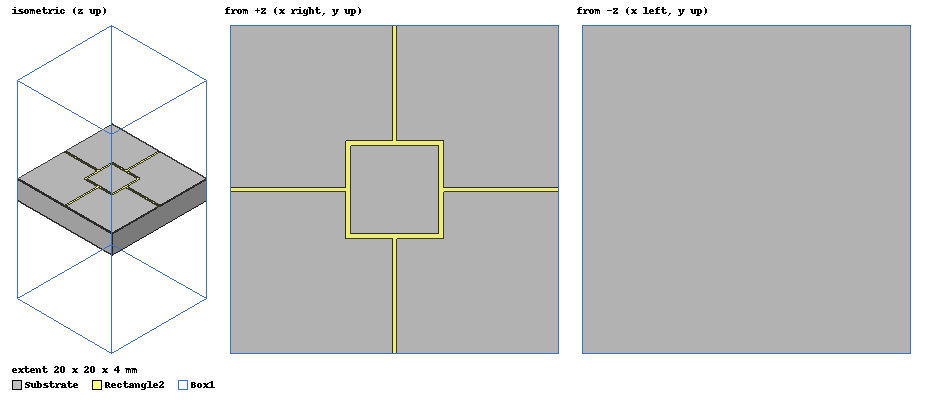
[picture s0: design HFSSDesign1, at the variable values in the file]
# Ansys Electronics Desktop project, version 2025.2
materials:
  vacuum: permittivity=1
  FR4_epoxy: permittivity=4.4 dielectric_loss_tangent=0.02

design HFSSDesign1 (HFSS, HFSS Terminal Network, model units mm)
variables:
  p = 20mm
  t = 4mm
  l = 5.4mm
  w = 0.3mm
  H = 40mm
  Phi_scan = 0deg
  Theta_scan = 0deg
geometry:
  Substrate [FR4_epoxy] = box(corner=(-p/2, -p/2, t/2), size=(p, p, -t))
  Rectangle1 = rectangle(corner=(-l/2, -l/2, t/2), x_size=l, y_size=l)
  Rectangle2 = rectangle(corner=(-(2*w+l)/2, -(2*w+l)/2, t/2), x_size=2*w+l, y_size=2*w+l)
  Rectangle2.subtract(Rectangle1)
  Rectangle3 = rectangle(corner=(-w/2, (p/2), t/2), x_size=w, y_size=-(p/2-l/2-w/2))
  Rectangle3_1 = Rectangle3.duplicate_around_axis(axis=Z, angle=90deg, total=2)
  Rectangle3_2 = Rectangle3.duplicate_around_axis(axis=Z, angle=180deg, total=2)
  Rectangle3_1_1 = Rectangle3_1.duplicate_around_axis(axis=Z, angle=180deg, total=2)
  Rectangle2.unite(Rectangle3, Rectangle3_1, Rectangle3_1_1, Rectangle3_2)
  Box1 [vacuum] = box(corner=(p/2, p/2, -H/2), size=(-p, -p, H))
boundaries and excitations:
  Master: Lattice Pair Faces=Box1.face(+x, -x) CoordSysVector{(10, 10, -20) -> (10, 10, 20)} PhaseDelay=UseScanAngle Phi=Phi_scan Theta=Theta_scan
  Slave: Lattice Pair Faces=Box1.face(-y, +y) CoordSysVector{(10, -10, -20) -> (10, -10, 20)} ReverseV PhaseDelay=UseScanAngle Phi=Phi_scan Theta=Theta_scan
  Lines: Perfect E Objects=Rectangle2
  FloquetPort2: Floquet Port Faces=Box1.face(+z) NumModes=2 Modes{Mode1{CharImp=Zpi} Mode2{CharImp=Zpi}} PhaseDelay=UseScanAngle Phi=Phi_scan Theta=Theta_scan LatticeAVector{(10, -10, 20) -> (-10, -10, 20)} LatticeBVector{(10, -10, 20) -> (10, 10, 20)} ModesList{Mode{ModeNumber=1 IndexM=0 IndexN=0 KC2=0 PropagationState=Propagating Attenuation=0 PolarizationState=TE} Mode{ModeNumber=2 IndexM=0 IndexN=0 KC2=0 PropagationState=Propagating Attenuation=0 PolarizationState=TM}}
  FloquetPort1: Floquet Port Faces=Box1.face(-z) NumModes=2 Modes{Mode1{CharImp=Zpi} Mode2{CharImp=Zpi}} PhaseDelay=UseScanAngle Phi=Phi_scan Theta=Theta_scan LatticeAVector{(10, -10, -20) -> (-10, -10, -20)} LatticeBVector{(10, -10, -20) -> (10, 10, -20)} ModesList{Mode{ModeNumber=1 IndexM=0 IndexN=0 KC2=0 PropagationState=Propagating Attenuation=0 PolarizationState=TE AffectsRefinement} Mode{ModeNumber=2 IndexM=0 IndexN=0 KC2=0 PropagationState=Propagating Attenuation=0 PolarizationState=TM AffectsRefinement}}
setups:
  Setup1: HfssDriven Frequency=5GHz MaxDeltaS=0.02 MaximumPasses=6 MinimumPasses=1 MinimumConvergedPasses=1 PercentRefinement=30 BasisOrder=1 PortAccuracy=2 DrivenSolverType="Direct Solver"
    sweep Sweep: 2.5GHz to 7.5GHz, 61 points; Type=Interpolating SaveFields InterpTolerance=0.5 InterpMaxSolns=250 PassivityErrorTolerance=0.0001
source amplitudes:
  FloquetPort2:1: 1V 0deg
  FloquetPort2:2, FloquetPort1:1, FloquetPort1:2: 0V 0deg
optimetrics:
  ParametricSetup1: Parametric Sim._Setups=[Setup1]
    sweep w: LIN 0.3mm 0.9mm 0.3mm
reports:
  S Parameter Plot2: ang_deg(S(FloquetPort1:1,FloquetPort1:1)) vs Freq on Setup1 : Sweep [w=all]
  S Parameter Plot3: dB(S(FloquetPort1:1,FloquetPort1:1)), dB(S(FloquetPort2:1,FloquetPort1:1)) vs Freq on Setup1 : Sweep [w=all]
